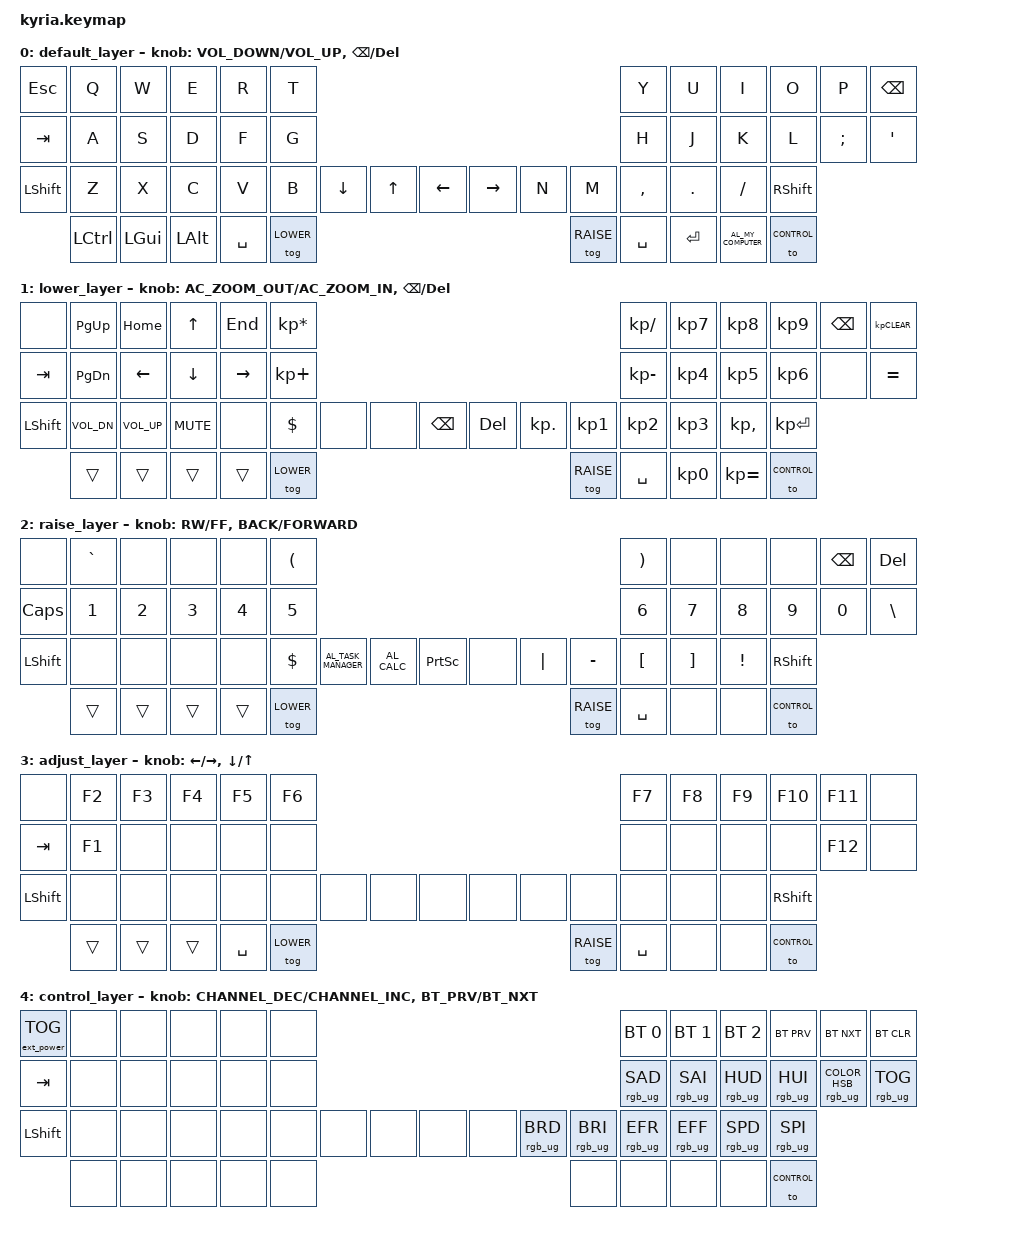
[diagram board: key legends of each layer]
/*
 * Copyright (c) 2020 The ZMK Contributors
 *
 * SPDX-License-Identifier: MIT
 */

#include <../boards/shields/kyria/boards/nice_nano.overlay>
#include <behaviors.dtsi>
#include <dt-bindings/zmk/keys.h>
#include <dt-bindings/zmk/bt.h>
#include <dt-bindings/zmk/ext_power.h>
#include <dt-bindings/zmk/outputs.h>
#include <dt-bindings/zmk/rgb.h>

#define DEFAULT 0
#define LOWER   1
#define RAISE   2
#define ADJUST  3
#define CONTROL	4

/ {
    conditional_layers {
        compatible = "zmk,conditional-layers";
        tri_layer {
            if-layers = <1 2>;
            then-layer = <3>;
        };
    };
};

/ {
	keymap {
		compatible = "zmk,keymap";

		default_layer {
// QWERTY Layout
// ---------------------------------------------------------------------------------------------------------------------------------
// |  ESC  |  Q  |  W  |  E    |  R   |   T   |                                          |   Y   |  U    |  I    |  O   |   P   | BkSp |
// |  TAB  |  A  |  S  |  D    |  F   |   G   |                                          |   H   |  J    |  K    |  L   |   ;   |  '   |
// | SHIFT |  Z  |  X  |  C    |  V   |   B   |  CALC | PRINT SCREEN|  |   M0    |   M1  |   N   |  M    |  ,    |  .   |   /   | SHFT |
//                     | LCTRL  | LGUI  | LALT |  SPACE   |  LOWER  |  |  RAISE  |  SPACE | ENTER | MY PC  | CONTROL |
			bindings = <
	&kp ESC    &kp Q &kp W &kp E &kp R &kp T                                                &kp Y &kp U  &kp I     &kp O   &kp P          &kp BSPC
	&kp TAB    &kp A &kp S &kp D &kp F &kp G                                                &kp H &kp J  &kp K     &kp L   &kp SEMICOLON  &kp APOSTROPHE
	&kp LSHFT  &kp Z &kp X &kp C &kp V &kp B  &kp DOWN  &kp UP  &kp LEFT &kp RIGHT  &kp N &kp M  &kp COMMA &kp DOT &kp FSLH &kp RSHFT
	              &kp LCTRL &kp LGUI &kp LALT &kp SPACE &tog LOWER     &tog RAISE &kp SPACE &kp ENTER &kp C_AL_MY_COMPUTER &to CONTROL
			>;
//Keypresses Volume Down and Volume Up Left Encoder  |  Keypressess Backspace and Delete Right Encoder
			sensor-bindings = <&inc_dec_kp C_VOLUME_DOWN C_VOLUME_UP &inc_dec_kp BSPC DEL>;
		};

		lower_layer {
// Navigation, Volume, and Numpad
// ---------------------------------------------------------------------------------------------------------------------------------
// |  NONE | PG UP | HOME       | ARROW UP | END        | *      |                                             |   /       |  7       |  8    |  9  |   BKSP   | CLEAR  |
// |  TAB  | PG DN | ARROW LEFT | ARROW DN | ARROW RHT  | +      |                                             |   -       |  4       |  5    |  6  |   NONE   |     =     |
// | SHIFT | VOL - | VOL +      | MUTE     | NONE       |  $     | NONE   | NONE |          |  BSPC   |  DEL   |  KP_DOT   |  1       |  2    |  3  |     ,    |    Enter  |
//                              | TRANS    | TRANS      | TRANS  | SPACE  | LOWER|          |  RAISE  |  SPACE |   0       | KP_EQUAL |Control|
			bindings = <
	&none    &kp PG_UP &kp HOME &kp UP &kp END &kp KP_MULTIPLY                                                  &kp KP_DIVIDE &kp KP_N7 &kp KP_N8 &kp KP_N9 &kp BSPC &kp KP_CLEAR
	&kp TAB  &kp PG_DN &kp LEFT  &kp DOWN &kp RIGHT  &kp KP_PLUS                                                &kp KP_MINUS &kp KP_N4 &kp KP_N5 &kp KP_N6 &none &kp EQUAL
	&kp LSHFT &kp C_VOL_DN &kp C_VOL_UP  &kp C_MUTE  &none  &kp DLLR  &none &none     &kp BSPC &kp DEL &kp KP_DOT  &kp KP_N1 &kp KP_N2 &kp KP_N3 &kp KP_COMMA &kp KP_ENTER
	                     &trans &trans &trans &trans &tog LOWER                    &tog RAISE &kp SPACE &kp KP_N0 &kp KP_EQUAL &to CONTROL
			>;
//Application controls Zoom In and Zoom Out Left Encoder |  Keypresses Backspace and Delete Right Encoder
			sensor-bindings = <&inc_dec_kp C_AC_ZOOM_OUT C_AC_ZOOM_IN &inc_dec_kp BSPC DEL>;
		};

		raise_layer {
// Number row and Punctuation
// ---------------------------------------------------------------------------------------------------------------------------------
// |  NONE  | GRAVE |  NONE | NONE | NONE |  (   |                                            |   )     | NONE  | NONE  | NONE | BKSP | DEL |
// |  CAPS  |  1 !  |  2 @  |  3 # | 4 $  |  5 % |                                            |   6 ^    |  7 & |  8 *  |  9 ( |  0 ) | \ |  |
// | SHIFT |  NONE  | NONE  | NONE | NONE |  $   | Task Manager |CALCULATOR|      |PRINTSCREEN|  NONE   |   PIPE  | MINUS |  LBKT | RBKT |  !   | SHFT |
//                     | TRANS | TRANS | TRANS   | SPACE        | LOWER|          | RAISE |  SPACE  |   NONE  | NONE  |Control|
			bindings = <
	&none &kp GRAVE &none &none &none &kp LPAR                                                             &kp RPAR &none &none &none  &kp BSPC &kp DEL
	&kp CAPS &kp N1 &kp N2 &kp N3 &kp N4 &kp N5                                                               &kp N6 &kp N7 &kp N8 &kp N9 &kp N0 &kp BSLH
	&kp LSHFT &none &none &none &none &kp DLLR &kp C_AL_TASK_MANAGER &kp C_AL_CALC      &kp PRINTSCREEN &none &kp PIPE &kp MINUS &kp LBKT &kp RBKT &kp EXCL &kp RSHFT
	                   &trans &trans &trans &trans &tog LOWER                           &tog RAISE &kp SPACE &none &none &to CONTROL
			>;
//Media Controls Rewind and Fast Foward on Left Encoder | Application Controls Backward and Forward Right Encoder
			sensor-bindings = <&inc_dec_kp C_RW C_FF &inc_dec_kp K_BACK K_FORWARD>;
		};

		adjust_layer {
// Function row 
// ---------------------------------------------------------------------------------------------------------------------------------
// |  NONE |  F2  |  F3 |  F4  |  F5  |   F6   |                                          | F7 | F8  |  F9   |  F10  | F11 | NONE|
// |  TAB  |  F1  |  NONE | NONE | NONE | NONE |                                          | NONE | NONE | NONE | NONE | F12 | NONE |
// | SHIFT |  NONE  |  NONE  | NONE | NONE | NONE | NONE | NONE |         | NONE |  NONE | NONE | NONE | NONE | NONE | NONE | SHFT |
//                     | TRANS | TRANS | TRANS |  SPACE  |  LOWER  |      | RAISE |SPACE | NONE | NONE |Control|
			bindings = <
	&none &kp F2  &kp F3  &kp F4  &kp F5  &kp F6                                                &kp F7 &kp F8 &kp F9 &kp F10 &kp F11 &none
	&kp TAB  &kp F1 &none  &none  &none &none                                                   &none  &none  &none  &none   &kp F12 &none
	&kp LSHFT  &none &none &none  &none &none &none &none        &none &none &none  &none  &none &none  &none  &kp RSHFT
	              &trans &trans &trans &kp SPACE &tog LOWER      &tog RAISE &kp SPACE &none &none &to CONTROL
			>;
//Keypressess Arrow Left and Arrow Right  | Keypress Arrow Down and Arrow Up
			sensor-bindings = <&inc_dec_kp LEFT RIGHT &inc_dec_kp DOWN UP>;
		};

		control_layer {
// Bluetooth and RGB command layer. Access with LOWER+CONTROL or toggle. 3 profiles!
// ---------------------------------------------------------------------------------------------------------------------------------
// |  &ext_power EP_TOG |  NONE  | NONE | EP_TOG | NONE | NONE |                                         | BT 0  | BT 1 | BT 2 |   BT PRV   |   BT NEXT  | BT CLEAR |
// |  TAB |  NONE | NONE | NONE | NONE | NONE |                                               | SAD   | SAI |  HUD |   HUI  |  HSB  | RGB TOG |
// | SHIFT | NONE | NONE | NONE | NONE | NONE | NONE  |  NONE |           |  NONE  |   NONE   | BRD   | BRI | EFR | EFF |  SPD  | SPI |
//                                | NONE | NONE  | NONE | NONE| NONE |    |  NONE  |   NONE   | NONE  | NONE | Control|
			bindings = <
	&ext_power EP_TOG &none &none &none &none &none            &bt BT_SEL 0 &bt BT_SEL 1  &bt BT_SEL 2  &bt BT_PRV  &bt BT_NXT &bt BT_CLR
	&kp TAB  &none &none &none &none &none                                &rgb_ug RGB_SAD  &rgb_ug RGB_SAI &rgb_ug RGB_HUD &rgb_ug RGB_HUI &rgb_ug RGB_COLOR_HSB(308, 100, 78) &rgb_ug RGB_TOG
	&kp LSHFT  &none &none &none &none &none &none &none     &none &none  &rgb_ug RGB_BRD  &rgb_ug RGB_BRI &rgb_ug RGB_EFR &rgb_ug RGB_EFF  &rgb_ug RGB_SPD &rgb_ug RGB_SPI 
	                   &none &none &none &none &none         &none &none &none &none &to CONTROL
			>;
//Consumer Controls Channel Decrement and Channel Increment  | Keypressess Bluetooth Previous Profile and Next Profile
			sensor-bindings = <&inc_dec_kp C_CHANNEL_DEC C_CHANNEL_INC &inc_dec_kp BT_PRV BT_NXT>;
		};
	};
};
